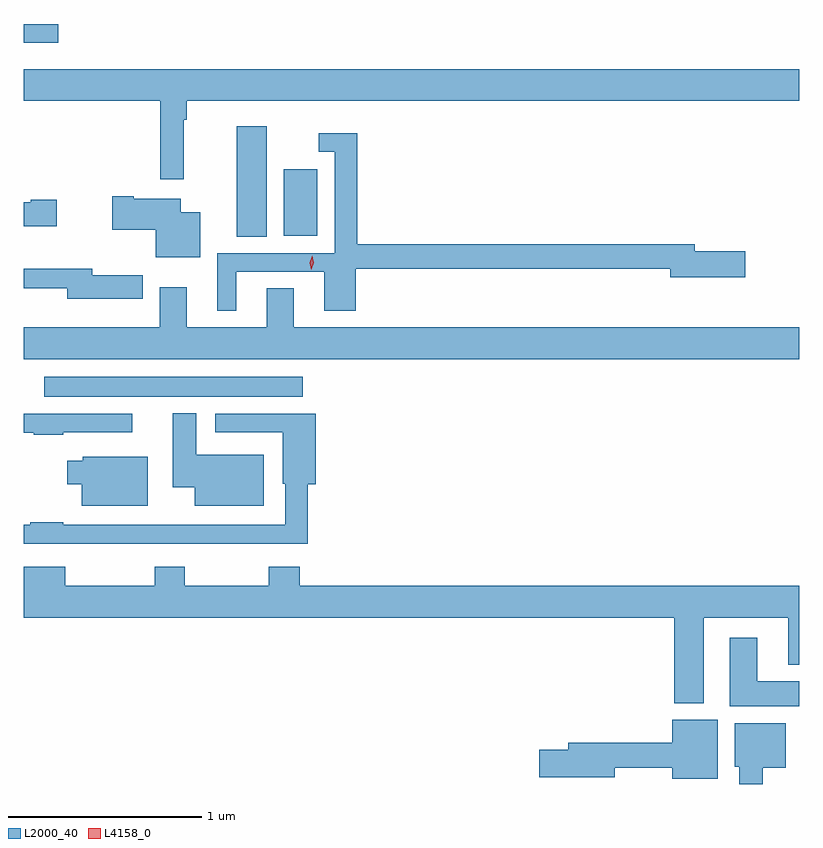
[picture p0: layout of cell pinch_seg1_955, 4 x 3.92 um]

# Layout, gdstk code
import gdstk
lib = gdstk.Library(unit=1e-6, precision=1e-09)
def R(c, l, rs):  # rectangles x0, y0, x1, y1
    for r in rs: c.add(gdstk.rectangle(r[:2], r[2:], *l))
def P(c, l, *ps):  # polygons
    for p in ps: c.add(gdstk.Polygon(p, *l))
L2000_40 = (2000, 40)
L4158_0 = (4158, 0)

pinch_seg1_955 = lib.new_cell('pinch_seg1_955')
R(pinch_seg1_955, L2000_40, [(314.853,560.864,316.186,560.965), (315.845,561.688,316,562.258), (316.088,561.692,316.261,562.036), (314.747,562.688,314.926,562.785)])
P(pinch_seg1_955, L2000_40, [(315.572,562.292),(315.587,562.292),(315.587,562.388),(318.747,562.388),(318.747,562.552),(314.747,562.552),(314.747,562.388),(315.451,562.388),(315.451,561.984),(315.572,561.984)],
  [(315.844,561.507),(316.298,561.507),(316.298,561.306),(316.46,561.306),(316.46,561.522),(318.08,561.522),(318.08,561.479),(318.469,561.479),(318.469,561.614),(318.208,561.614),(318.208,561.65),(316.466,561.65),(316.466,562.222),(316.269,562.222),(316.269,562.125),(316.35,562.125),(316.35,561.603),(315.746,561.603),(315.746,561.306),(315.844,561.306)],
  [(315.658,561.814),(315.556,561.814),(315.556,561.883),(315.316,561.883),(315.316,561.896),(315.204,561.896),(315.204,561.725),(315.428,561.725),(315.428,561.581),(315.658,561.581)],
  [(314.917,561.878),(314.784,561.878),(314.784,561.865),(314.747,561.865),(314.747,561.743),(314.917,561.743)],
  [(315.361,561.49),(315.1,561.49),(315.1,561.522),(314.747,561.522),(314.747,561.422),(314.972,561.422),(314.972,561.368),(315.361,561.368)],
  [(318.747,561.22),(316.141,561.22),(316.141,561.422),(316.001,561.422),(316.001,561.22),(315.589,561.22),(315.589,561.427),(315.449,561.427),(315.449,561.22),(314.747,561.22),(314.747,561.056),(318.747,561.056)],
  [(315.985,560.563),(315.637,560.563),(315.637,560.779),(315.515,560.779),(315.515,560.396),(315.629,560.396),(315.629,560.3),(315.985,560.3)],
  [(315.335,560.106),(315.667,560.106),(315.667,560.105),(315.923,560.105),(315.923,560.106),(316.211,560.106),(316.211,560.411),(316.253,560.411),(316.253,560.775),(315.735,560.775),(315.735,560.679),(316.082,560.679),(316.082,560.415),(316.095,560.415),(316.095,560.202),(314.951,560.202),(314.951,560.215),(314.782,560.215),(314.782,560.202),(314.747,560.202),(314.747,560.106),(315.058,560.106),(315.058,560.105),(315.335,560.105)],
  [(314.951,560.679),(315.307,560.679),(315.307,560.775),(314.747,560.775),(314.747,560.677),(314.798,560.677),(314.798,560.667),(314.951,560.667)],
  [(315.388,560.554),(315.051,560.554),(315.051,560.533),(314.972,560.533),(314.972,560.411),(315.047,560.411),(315.047,560.3),(315.388,560.3)],
  [(318.253,559.724),(318.689,559.724),(318.689,559.481),(318.747,559.481),(318.747,559.888),(316.172,559.888),(316.172,559.987),(316.012,559.987),(316.012,559.888),(315.579,559.888),(315.579,559.987),(315.424,559.987),(315.424,559.888),(314.962,559.888),(314.962,559.987),(314.747,559.987),(314.747,559.724),(318.101,559.724),(318.101,559.283),(318.253,559.283)],
  [(318.747,559.396),(318.529,559.396),(318.529,559.621),(318.389,559.621),(318.389,559.268),(318.747,559.268)],
  [(318.325,559.198),(318.092,559.198),(318.092,559.079),(317.555,559.079),(317.555,559.043),(317.406,559.043),(317.406,558.901),(317.794,558.901),(317.794,558.951),(318.092,558.951),(318.092,558.893),(318.325,558.893)],
  [(318.559,558.95),(318.676,558.95),(318.676,559.18),(318.413,559.18),(318.413,558.954),(318.437,558.954),(318.437,558.866),(318.559,558.866)])
P(pinch_seg1_955, L4158_0, [(316.231,561.519),(316.231,561.519),(316.223,561.555),(316.234,561.591),(316.234,561.591),(316.234,561.591),(316.243,561.554),(316.231,561.519)])

lib.write_gds('pinch_seg1_955.gds')
